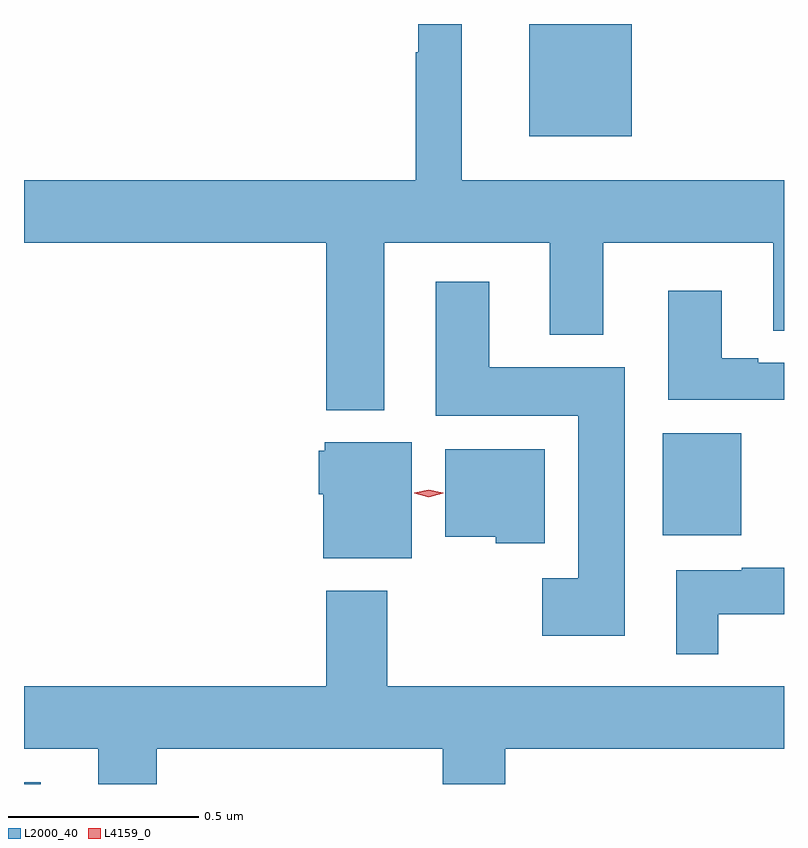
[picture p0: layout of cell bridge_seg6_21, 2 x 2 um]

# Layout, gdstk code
import gdstk
lib = gdstk.Library(unit=1e-6, precision=1e-09)
def R(c, l, rs):  # rectangles x0, y0, x1, y1
    for r in rs: c.add(gdstk.rectangle(r[:2], r[2:], *l))
def P(c, l, *ps):  # polygons
    for p in ps: c.add(gdstk.Polygon(p, *l))
L2000_40 = (2000, 40)
L4159_0 = (4159, 0)

bridge_seg6_21 = lib.new_cell('bridge_seg6_21')
R(bridge_seg6_21, L2000_40, [(998.845,947.243,998.889,947.247), (1000.526,947.897,1000.732,948.166), (1000.175,948.947,1000.444,949.243)])
P(bridge_seg6_21, L2000_40, [(998.845,948.668),(999.641,948.668),(999.641,948.227),(999.793,948.227),(999.793,948.668),(1000.229,948.668),(1000.229,948.425),(1000.369,948.425),(1000.369,948.668),(1000.817,948.668),(1000.817,948.436),(1000.845,948.436),(1000.845,948.832),(999.997,948.832),(999.997,949.243),(999.883,949.243),(999.883,949.169),(999.876,949.169),(999.876,948.832),(998.845,948.832)],
  [(1000.426,948.34),(1000.069,948.34),(1000.069,948.565),(999.929,948.565),(999.929,948.212),(1000.304,948.212),(1000.304,947.785),(1000.209,947.785),(1000.209,947.633),(1000.426,947.633)],
  [(1000.845,948.351),(1000.777,948.351),(1000.777,948.364),(1000.681,948.364),(1000.681,948.541),(1000.541,948.541),(1000.541,948.254),(1000.845,948.254)],
  [(999.865,948.142),(999.636,948.142),(999.636,948.12),(999.62,948.12),(999.62,948.006),(999.632,948.006),(999.632,947.837),(999.865,947.837)],
  [(1000.216,948.124),(999.953,948.124),(999.953,947.894),(1000.086,947.894),(1000.086,947.876),(1000.216,947.876)],
  [(1000.672,947.69),(1000.845,947.69),(1000.845,947.812),(1000.734,947.812),(1000.734,947.806),(1000.562,947.806),(1000.562,947.585),(1000.672,947.585)],
  [(999.194,947.336),(999.947,947.336),(999.947,947.243),(1000.112,947.243),(1000.112,947.336),(1000.845,947.336),(1000.845,947.5),(999.801,947.5),(999.801,947.752),(999.641,947.752),(999.641,947.5),(998.845,947.5),(998.845,947.336),(999.041,947.336),(999.041,947.243),(999.194,947.243)])
P(bridge_seg6_21, L4159_0, [(999.91,947.998),(999.872,948.008),(999.872,948.008),(999.872,948.009),(999.91,948.018),(999.948,948.009),(999.948,948.008),(999.948,948.008)])

lib.write_gds('bridge_seg6_21.gds')
